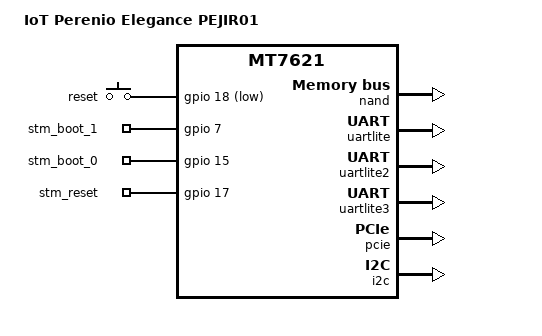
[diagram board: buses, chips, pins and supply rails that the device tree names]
// SPDX-License-Identifier: GPL-2.0-or-later OR MIT
/dts-v1/;

#include "mt7621.dtsi"

#include <dt-bindings/gpio/gpio.h>
#include <dt-bindings/input/input.h>

/ {
	compatible = "perenio,pejir01-34-BA", "mediatek,mt7621-soc";
	model = "IoT Perenio Elegance PEJIR01";

	chosen {
		bootargs = "console=ttyS0,115200n8";
	};

	keys {
		compatible = "gpio-keys";

		reset {
			label = "reset";
			gpios = <&gpio 18 GPIO_ACTIVE_LOW>;
			linux,code = <KEY_RESTART>;
		};
	};

	gpio_export {
		compatible = "gpio-export";
		#size-cells = <0>;
		stm_boot_1 {
			gpio-export,name = "stm_boot_1";
			gpio-export,output = <0>;
			gpios = <&gpio 7 GPIO_ACTIVE_HIGH>;
		};
		stm_boot_0 {
			gpio-export,name = "stm_boot_0";
			gpio-export,output = <0>;
			gpios = <&gpio 15 GPIO_ACTIVE_HIGH>;
		};
		stm_reset {
			gpio-export,name = "stm_reset";
			gpio-export,output = <0>;
			gpios = <&gpio 17 GPIO_ACTIVE_HIGH>;
		};
	};
};

&nand {
	status = "okay";

	partitions {
		compatible = "fixed-partitions";
		#address-cells = <1>;
		#size-cells = <1>;

		partition@0 {
			label = "Bootloader";
			reg = <0x0 0x80000>;
			read-only;
		};

		partition@80000 {
			label = "Config";
			reg = <0x80000 0x40000>;
		};

		partition@c0000 {
			label = "Bdata";
			reg = <0xc0000 0x40000>;
			read-only;
		};

		factory: partition@100000 {
			label = "factory";
			reg = <0x100000 0x40000>;
			read-only;
		};

		partition@140000 {
			label = "crash";
			reg = <0x140000 0x40000>;
			read-only;
		};

		partition@180000 {
			label = "crash_syslog";
			reg = <0x180000 0x40000>;
			read-only;
		};

		partition@1c0000 {
			label = "reserved0";
			reg = <0x1c0000 0x40000>;
			read-only;
		};

		/* We not keep stock original firmware (kernel0) here */
		partition@200000 {
			label = "kernel0";
			reg = <0x200000 0x400000>;
			read-only;
		};

		partition@600000 {
			label = "kernel1";
			reg = <0x600000 0x400000>;
		};

		partition@a00000 {
			label = "ubi";
			reg = <0xa00000 0x7560000>;
		};

		partition@7f60000 {
			label = "idata";
			reg = <0x7f60000 0x20000>;
		};

		partition@7fc0000 {
			label = "idata_old";
			reg = <0x7fc0000 0x20000>;
			read-only;
		};
	};
};

&uartlite {
	status = "okay";
};

&uartlite2 {
        status = "okay";
};

&uartlite3 {
        status = "okay";
};


&pcie {
	status = "okay";
};

&i2c {
	status = "okay";
};

&switch0 {
	ports {

		port@0 {
			status = "okay";
			label = "lan2";
		};

		port@1 {
			status = "okay";
			label = "lan1";
		};

		port@4 {
			status = "okay";
			label = "wan";
		};
	};
};

&state_default {
	gpio {
		groups = "jtag", "wdt";
		function = "gpio";
	};
};
